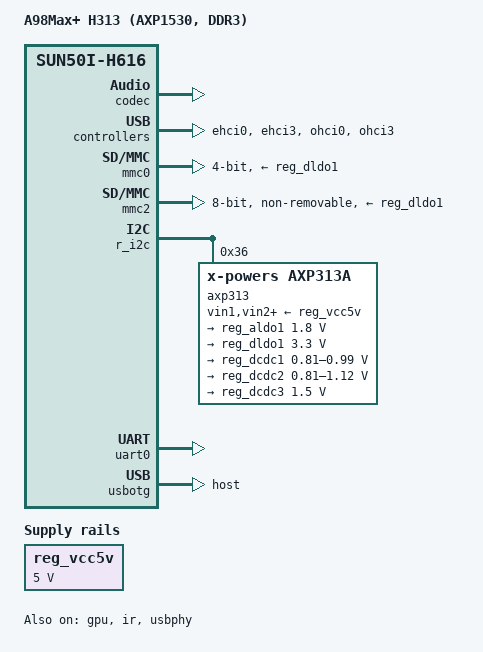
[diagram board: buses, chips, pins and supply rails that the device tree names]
// SPDX-License-Identifier: (GPL-2.0-or-later OR MIT)
/*
 * Copyright (C) 2025 J. Neuschäfer <j.ne@posteo.net>
 *
 * Modified for the A98Max+ / H313 TV box (AXP1530 handled as AXP313A, DDR3 rail 1.5 V,
 * no card-detect pin: the stock firmware uses PI16, X96Q used PF6).
 */

/dts-v1/;

#include "sun50i-h616.dtsi"
#include "sun50i-h616-cpu-opp.dtsi"

#include <dt-bindings/gpio/gpio.h>
#include <dt-bindings/interrupt-controller/arm-gic.h>
#include <dt-bindings/input/linux-event-codes.h>

/ {
	model = "A98Max+ H313 (AXP1530, DDR3)";
	compatible = "vttv,a98max", "allwinner,sun50i-h616";

	aliases {
		serial0 = &uart0;
	};

	chosen {
		stdout-path = "serial0:115200n8";
	};

	reg_vcc5v: vcc5v {
		/* board wide 5V supply directly from the DC input */
		compatible = "regulator-fixed";
		regulator-name = "vcc-5v";
		regulator-min-microvolt = <5000000>;
		regulator-max-microvolt = <5000000>;
		regulator-always-on;
	};


};

&codec {
	allwinner,audio-routing = "Line Out", "LINEOUT";
	status = "okay";
};

&cpu0 {
	cpu-supply = <&reg_dcdc2>;
};

&ehci0 {
	status = "okay";
};

&ehci3 {
	status = "okay";
};

/* TODO: EMAC1 connected to AC200 PHY */

&gpu {
	mali-supply = <&reg_dcdc1>;
	status = "okay";
};

&ir {
	status = "okay";
};

&mmc0 {
	/* microSD */
	vmmc-supply = <&reg_dldo1>;
	broken-cd;	/* stock firmware uses PI16, poll instead */
	disable-wp;
	bus-width = <4>;
	status = "okay";
};

/* TODO: XRadio XR819 WLAN @ mmc1 */

&mmc2 {
	/* eMMC */
	vmmc-supply = <&reg_dldo1>;
	vqmmc-supply = <&reg_aldo1>;
	non-removable;
	cap-mmc-hw-reset;
	mmc-ddr-1_8v;
	mmc-hs200-1_8v;
	max-frequency = <100000000>; /* required for stable operation */
	bus-width = <8>;
	status = "okay";
};

&ohci0 {
	status = "okay";
};

&ohci3 {
	status = "okay";
};

&r_i2c {
	status = "okay";

	axp313: pmic@36 {
		compatible = "x-powers,axp313a";
		reg = <0x36>;
		#interrupt-cells = <1>;
		interrupt-controller;

		vin1-supply = <&reg_vcc5v>;
		vin2-supply = <&reg_vcc5v>;
		vin3-supply = <&reg_vcc5v>;

		regulators {
			reg_aldo1: aldo1 {
				regulator-always-on;
				regulator-min-microvolt = <1800000>;
				regulator-max-microvolt = <1800000>;
				regulator-name = "vcc1v8";
			};

			reg_dldo1: dldo1 {
				regulator-always-on;
				regulator-min-microvolt = <3300000>;
				regulator-max-microvolt = <3300000>;
				regulator-name = "vcc3v3";
			};

			reg_dcdc1: dcdc1 {
				regulator-always-on;
				regulator-min-microvolt = <810000>;
				regulator-max-microvolt = <990000>;
				regulator-name = "vdd-gpu-sys";
			};

			reg_dcdc2: dcdc2 {
				regulator-always-on;
				regulator-min-microvolt = <810000>;
				regulator-max-microvolt = <1120000>;
				regulator-name = "vdd-cpu";
			};

			reg_dcdc3: dcdc3 {
				regulator-always-on;
				regulator-min-microvolt = <1500000>;
				regulator-max-microvolt = <1500000>;
				regulator-name = "vdd-dram";
			};
		};
	};
};

&uart0 {
	pinctrl-names = "default";
	pinctrl-0 = <&uart0_ph_pins>;
	status = "okay";
};

&usbotg {
	dr_mode = "host";	/* USB A type receptacle */
	status = "okay";
};

&usbphy {
	status = "okay";
};
